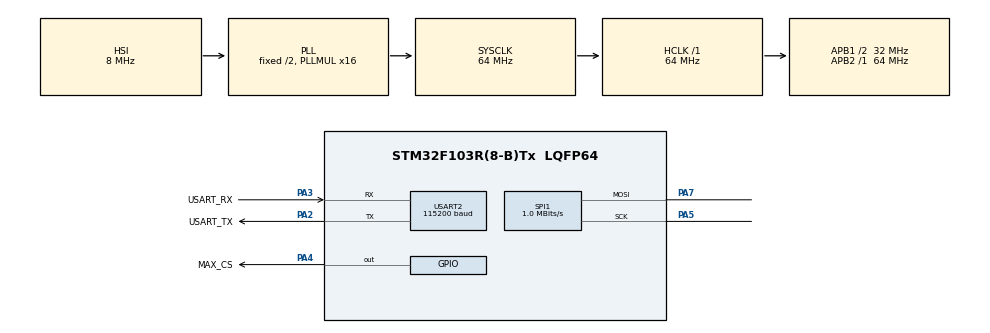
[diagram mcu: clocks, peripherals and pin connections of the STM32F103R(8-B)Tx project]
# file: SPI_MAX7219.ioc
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Mcu.Family=STM32F1
Mcu.Name=STM32F103R(8-B)Tx
Mcu.Package=LQFP64
NVIC.PriorityGroup=NVIC_PRIORITYGROUP_4
PA13.GPIO_Label=TMS
PA13.Mode=Serial_Wire
PA13.Signal=SYS_JTMS-SWDIO
PA14.GPIO_Label=TCK
PA14.Mode=Serial_Wire
PA14.Signal=SYS_JTCK-SWCLK
PA2.GPIO_Label=USART_TX
PA2.GPIO_Mode=GPIO_MODE_AF_PP
PA2.GPIO_PuPd=GPIO_NOPULL
PA2.GPIO_Speed=GPIO_SPEED_FREQ_LOW
PA2.Mode=Asynchronous
PA2.Signal=USART2_TX
PA3.GPIO_Label=USART_RX
PA3.GPIO_PuPd=GPIO_NOPULL
PA3.GPIO_Speed=GPIO_SPEED_FREQ_LOW
PA3.Mode=Asynchronous
PA3.Signal=USART2_RX
PA4.GPIO_Label=MAX_CS
PA4.GPIO_ModeDefaultOutputPP=GPIO_MODE_OUTPUT_PP
PA4.GPIO_PuPd=GPIO_NOPULL
PA4.GPIO_Speed=GPIO_SPEED_FREQ_HIGH
PA4.PinState=GPIO_PIN_SET
PA4.Signal=GPIO_Output
PA5.GPIO_Speed=GPIO_SPEED_FREQ_HIGH
PA5.Mode=Half_Duplex_Master
PA5.Signal=SPI1_SCK
PA7.GPIO_Speed=GPIO_SPEED_FREQ_HIGH
PA7.Mode=Half_Duplex_Master
PA7.Signal=SPI1_MOSI
PB3.GPIO_Label=SWO
PB3.Signal=SYS_JTDO-TRACESWO
PC14-OSC32_IN.Mode=LSE-External-Oscillator
PC14-OSC32_IN.Signal=RCC_OSC32_IN
PC15-OSC32_OUT.Mode=LSE-External-Oscillator
PC15-OSC32_OUT.Signal=RCC_OSC32_OUT
PD0-OSC_IN.Mode=HSE-External-Clock-Source
PD0-OSC_IN.Signal=RCC_OSC_IN
PD1-OSC_OUT.Mode=HSE-External-Clock-Source
PD1-OSC_OUT.Signal=RCC_OSC_OUT
ProjectManager.HeapSize=0x200
ProjectManager.StackSize=0x400
ProjectManager.TargetToolchain=STM32CubeIDE
RCC.AHBFreq_Value=64000000
RCC.APB1CLKDivider=RCC_HCLK_DIV2
RCC.APB1Freq_Value=32000000
RCC.APB1TimFreq_Value=64000000
RCC.APB2Freq_Value=64000000
RCC.APB2TimFreq_Value=64000000
RCC.HCLKFreq_Value=64000000
RCC.PLLMUL=RCC_PLL_MUL16
RCC.RTCClockSelection=RCC_RTCCLKSOURCE_LSE
RCC.SYSCLKFreq_VALUE=64000000
RCC.SYSCLKSource=RCC_SYSCLKSOURCE_PLLCLK
RCC.USBFreq_Value=64000000
SPI1.BaudRatePrescaler=SPI_BAUDRATEPRESCALER_64
SPI1.CalculateBaudRate=1.0 MBits/s
SPI1.Direction=SPI_DIRECTION_1LINE
SPI1.Mode=SPI_MODE_MASTER
SPI1.VirtualType=VM_MASTER
USART2.BaudRate=115200
USART2.VirtualMode=VM_ASYNC
board=NUCLEO-F103RB

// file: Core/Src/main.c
/* USER CODE BEGIN Header */
/**
 ******************************************************************************
 * @file           : main.c
 * @brief          : Main program body
 ******************************************************************************
 * @attention
 *
 * Copyright (c) 2026 STMicroelectronics.
 * All rights reserved.
 *
 * This software is licensed under terms that can be found in the LICENSE file
 * in the root directory of this software component.
 * If no LICENSE file comes with this software, it is provided AS-IS.
 *
 ******************************************************************************
 */
/**
 * 06_SPI_MAX7219_HAL_c  —  [계층: HAL]  MAX7219 로 8x8 LED 매트릭스 구동 (SPI 단방향 16비트 프레임)
 *
 * 배선 (MAX7219 8x8 매트릭스 모듈, 5V 모듈이 많다: VCC 를 5V 로, 로직 입력은 3.3V 로 대개 인식된다)
 *   VCC = 5V, GND
 *   CLK = PA5 (SPI1_SCK, LD2 와 공유),  DIN = PA7 (SPI1_MOSI),  CS(LOAD) = PA4
 *
 * MAX7219 규칙
 *   16비트 프레임 [레지스터 주소 8비트][데이터 8비트] 를 MSB 먼저 보내고, **CS(LOAD)를 High 로 올리는 순간** 반영된다.
 *   여러 개를 캐스케이드하면 프레임이 시프트 레지스터를 따라 다음 칩으로 밀려 가므로, 칩 수만큼 프레임을 연달아 보낸 뒤 CS 를 올린다.
 *   레지스터: 0x01~0x08 = 행(Digit0~7) 데이터 (8x8 매트릭스에서는 행 하나 = 비트 8개),  0x09 Decode(0=사용 안 함),
 *            0x0A 밝기(0~15),  0x0B Scan limit(7 = 8행 전부),  0x0C Shutdown(1=동작),  0x0F Display test(1=전체 점등)
 *   SPI: 모드 0, 최대 약 10MHz. 이 예제는 1MHz(64MHz/64)로도 충분하다.
 *
 * 동작 (일정 시간마다 전환)
 *   1) 전체 점등 테스트 0.5초  2) 행 스캔(줄이 위에서 아래로)  3) 튕기는 점  4) 확장하는 사각형 테두리  5) 밝기가 숨쉬듯 변화
 *   그림은 RAM 의 프레임 fb[8](행당 1바이트)에 그린 뒤 flush() 로 8행을 전송한다.
 *   (글자 표시는 문자별 8x8 비트맵 표를 fb 로 복사하고 옆으로 밀면 스크롤이 된다 — 표를 추가해 확장)
 *
 * 인터럽트를 사용하지 않는다 (블로킹 SPI).
 */
/* USER CODE END Header */
#include "main.h"

/* USER CODE BEGIN Includes */
#include <stdio.h>
#include <string.h>
/* USER CODE END Includes */

/* USER CODE BEGIN PD */
#define CS_LOW()   HAL_GPIO_WritePin(MAX_CS_GPIO_Port, MAX_CS_Pin, GPIO_PIN_RESET)
#define CS_HIGH()  HAL_GPIO_WritePin(MAX_CS_GPIO_Port, MAX_CS_Pin, GPIO_PIN_SET)

/* USER CODE END PD */

SPI_HandleTypeDef hspi1;
UART_HandleTypeDef huart2;

/* USER CODE BEGIN PV */
static uint8_t fb[8];                          /* 프레임버퍼: fb[row] 의 비트7 = 왼쪽 끝 열 */
/* USER CODE END PV */

void SystemClock_Config(void);
static void MX_GPIO_Init(void);
static void MX_SPI1_Init(void);
static void MX_USART2_UART_Init(void);

/* USER CODE BEGIN 0 */
static void max_write(uint8_t reg, uint8_t val)
{
    uint8_t frame[2] = { reg, val };
    CS_LOW();
    HAL_SPI_Transmit(&hspi1, frame, 2, 10);
    CS_HIGH();                                  /* 이 상승 에지에서 레지스터에 반영 */
}

static void flush(void)
{
    for (uint8_t r = 0; r < 8; r++) max_write((uint8_t)(r + 1), fb[r]);
}

static void max_init(void)
{
    max_write(0x0F, 0x00);                      /* 디스플레이 테스트 끔 */
    max_write(0x0C, 0x00);                      /* 초기 셧다운 */
    max_write(0x09, 0x00);                      /* 디코드 모드 없음 (매트릭스는 원시 비트 사용) */
    max_write(0x0B, 0x07);                      /* 8행 스캔 */
    max_write(0x0A, 0x04);                      /* 밝기 4/15 */
    memset(fb, 0, sizeof fb);
    flush();
    max_write(0x0C, 0x01);                      /* 동작 시작 */
}

static void set_px(int x, int y, int on)
{
    if ((unsigned)x > 7 || (unsigned)y > 7) return;
    if (on) fb[y] |= (uint8_t)(0x80u >> x); else fb[y] &= (uint8_t)~(0x80u >> x);
}
/* USER CODE END 0 */

int main(void)
{

  /* MCU Configuration--------------------------------------------------------*/

  /* Reset of all peripherals, Initializes the Flash interface and the Systick. */
  HAL_Init();

  /* Configure the system clock */
  SystemClock_Config();

  /* Initialize all configured peripherals */
  MX_GPIO_Init();
  MX_SPI1_Init();
  MX_USART2_UART_Init();
  /* USER CODE BEGIN 2 */
  max_init();

  /* 1) 디스플레이 테스트: 전체 점등 0.5초 (모듈 연결 확인) */
  max_write(0x0F, 0x01);  HAL_Delay(500);  max_write(0x0F, 0x00);
  /* USER CODE END 2 */

  /* Infinite loop */
  while (1)
  {

    /* USER CODE BEGIN 3 */
    /* 2) 행 스캔 */
    for (int r = 0; r < 8; r++) { memset(fb, 0, sizeof fb); fb[r] = 0xFF; flush(); HAL_Delay(80); }

    /* 3) 튕기는 점 (약 4초) */
    int x = 1, y = 2, vx = 1, vy = 1;
    for (int i = 0; i < 80; i++)
    {
        memset(fb, 0, sizeof fb);
        x += vx; y += vy;
        if (x <= 0 || x >= 7) vx = -vx;
        if (y <= 0 || y >= 7) vy = -vy;
        set_px(x, y, 1);
        flush(); HAL_Delay(50);
    }

    /* 4) 안쪽에서 바깥으로 커지는 사각형 테두리, 3번 반복 */
    for (int rep = 0; rep < 3; rep++)
        for (int s = 0; s < 4; s++)
        {
            memset(fb, 0, sizeof fb);
            int lo = 3 - s, hi = 4 + s;
            for (int k = lo; k <= hi; k++) { set_px(k, lo, 1); set_px(k, hi, 1); set_px(lo, k, 1); set_px(hi, k, 1); }
            flush(); HAL_Delay(120);
        }

    /* 5) 밝기 페이드: 전체 점등 상태에서 0->15->0 */
    memset(fb, 0xFF, sizeof fb); flush();
    for (int b = 0; b <= 15; b++) { max_write(0x0A, (uint8_t)b); HAL_Delay(60); }
    for (int b = 15; b >= 0; b--) { max_write(0x0A, (uint8_t)b); HAL_Delay(60); }
    max_write(0x0A, 0x04);

    HAL_UART_Transmit(&huart2, (uint8_t *)"animation cycle done\r\n", 22, 100);
  }
  /* USER CODE END 3 */
}

void SystemClock_Config(void)
{
  RCC_OscInitTypeDef RCC_OscInitStruct = {0};
  RCC_ClkInitTypeDef RCC_ClkInitStruct = {0};

  /** Initializes the RCC Oscillators according to the specified parameters
  * in the RCC_OscInitTypeDef structure.
  */
  RCC_OscInitStruct.OscillatorType = RCC_OSCILLATORTYPE_HSI;
  RCC_OscInitStruct.HSIState = RCC_HSI_ON;
  RCC_OscInitStruct.HSICalibrationValue = RCC_HSICALIBRATION_DEFAULT;
  RCC_OscInitStruct.PLL.PLLState = RCC_PLL_ON;
  RCC_OscInitStruct.PLL.PLLSource = RCC_PLLSOURCE_HSI_DIV2;
  RCC_OscInitStruct.PLL.PLLMUL = RCC_PLL_MUL16;
  if (HAL_RCC_OscConfig(&RCC_OscInitStruct) != HAL_OK)
  {
    Error_Handler();
  }

  /** Initializes the CPU, AHB and APB buses clocks
  */
  RCC_ClkInitStruct.ClockType = RCC_CLOCKTYPE_HCLK|RCC_CLOCKTYPE_SYSCLK
                              |RCC_CLOCKTYPE_PCLK1|RCC_CLOCKTYPE_PCLK2;
  RCC_ClkInitStruct.SYSCLKSource = RCC_SYSCLKSOURCE_PLLCLK;
  RCC_ClkInitStruct.AHBCLKDivider = RCC_SYSCLK_DIV1;
  RCC_ClkInitStruct.APB1CLKDivider = RCC_HCLK_DIV2;
  RCC_ClkInitStruct.APB2CLKDivider = RCC_HCLK_DIV1;

  if (HAL_RCC_ClockConfig(&RCC_ClkInitStruct, FLASH_LATENCY_2) != HAL_OK)
  {
    Error_Handler();
  }
}

static void MX_GPIO_Init(void)
{
  GPIO_InitTypeDef GPIO_InitStruct = {0};

  /* GPIO Ports Clock Enable */
  __HAL_RCC_GPIOC_CLK_ENABLE();
  __HAL_RCC_GPIOD_CLK_ENABLE();
  __HAL_RCC_GPIOA_CLK_ENABLE();
  __HAL_RCC_GPIOB_CLK_ENABLE();

  /*Configure GPIO pin Output Level */
  HAL_GPIO_WritePin(MAX_CS_GPIO_Port, MAX_CS_Pin, GPIO_PIN_SET);

  /*Configure GPIO pin : MAX_CS_Pin */
  GPIO_InitStruct.Pin = MAX_CS_Pin;
  GPIO_InitStruct.Mode = GPIO_MODE_OUTPUT_PP;
  GPIO_InitStruct.Pull = GPIO_NOPULL;
  GPIO_InitStruct.Speed = GPIO_SPEED_FREQ_HIGH;
  HAL_GPIO_Init(MAX_CS_GPIO_Port, &GPIO_InitStruct);

}

static void MX_SPI1_Init(void)
{

  /* SPI1 parameter configuration*/
  hspi1.Instance = SPI1;
  hspi1.Init.Mode = SPI_MODE_MASTER;
  hspi1.Init.Direction = SPI_DIRECTION_1LINE;
  hspi1.Init.DataSize = SPI_DATASIZE_8BIT;
  hspi1.Init.CLKPolarity = SPI_POLARITY_LOW;
  hspi1.Init.CLKPhase = SPI_PHASE_1EDGE;
  hspi1.Init.NSS = SPI_NSS_SOFT;
  hspi1.Init.BaudRatePrescaler = SPI_BAUDRATEPRESCALER_64;
  hspi1.Init.FirstBit = SPI_FIRSTBIT_MSB;
  hspi1.Init.TIMode = SPI_TIMODE_DISABLE;
  hspi1.Init.CRCCalculation = SPI_CRCCALCULATION_DISABLE;
  hspi1.Init.CRCPolynomial = 10;
  if (HAL_SPI_Init(&hspi1) != HAL_OK)
  {
    Error_Handler();
  }

}

static void MX_USART2_UART_Init(void)
{

  huart2.Instance = USART2;
  huart2.Init.BaudRate = 115200;
  huart2.Init.WordLength = UART_WORDLENGTH_8B;
  huart2.Init.StopBits = UART_STOPBITS_1;
  huart2.Init.Parity = UART_PARITY_NONE;
  huart2.Init.Mode = UART_MODE_TX_RX;
  huart2.Init.HwFlowCtl = UART_HWCONTROL_NONE;
  huart2.Init.OverSampling = UART_OVERSAMPLING_16;
  if (HAL_UART_Init(&huart2) != HAL_OK)
  {
    Error_Handler();
  }

}

void Error_Handler(void)
{
  __disable_irq();
  while (1) {
  }
}
#ifdef USE_FULL_ASSERT
/**
  * @brief  Reports the name of the source file and the source line number
  *         where the assert_param error has occurred.
  * @param  file: pointer to the source file name
  * @param  line: assert_param error line source number
  * @retval None
  */
void assert_failed(uint8_t *file, uint32_t line)
{
  /* USER CODE BEGIN 6 */
  /* User can add his own implementation to report the file name and line
     number, ex: printf("Wrong parameters value: file %s on line %d\r\n", file,
     line) */
  /* USER CODE END 6 */
}
#endif /* USE_FULL_ASSERT */
